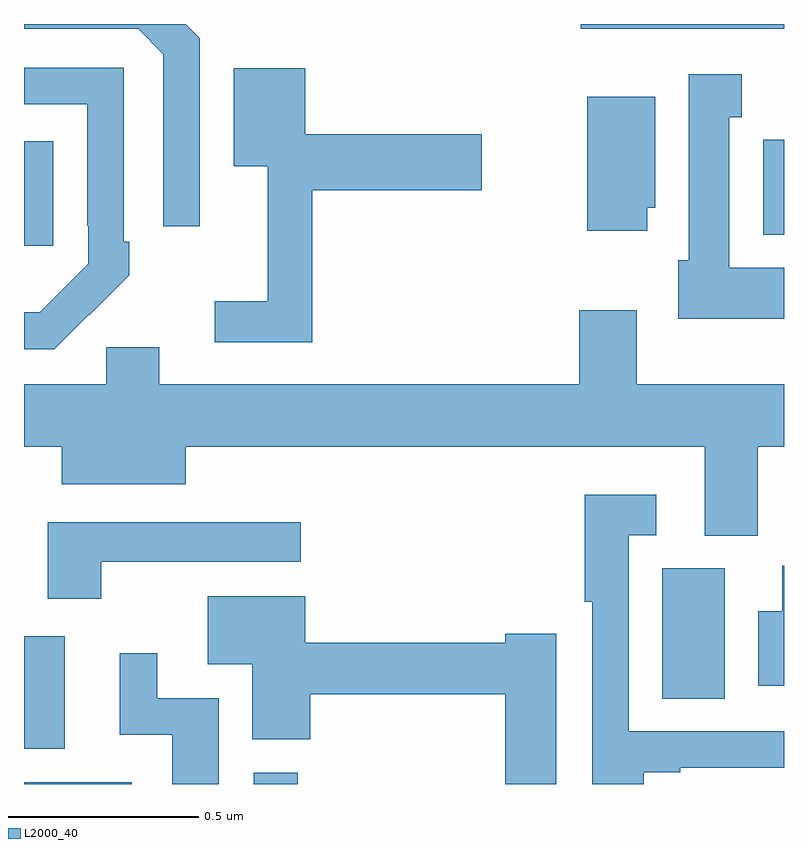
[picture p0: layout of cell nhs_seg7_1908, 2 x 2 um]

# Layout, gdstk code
import gdstk
lib = gdstk.Library(unit=1e-6, precision=1e-09)
def R(c, l, rs):  # rectangles x0, y0, x1, y1
    for r in rs: c.add(gdstk.rectangle(r[:2], r[2:], *l))
def P(c, l, *ps):  # polygons
    for p in ps: c.add(gdstk.Polygon(p, *l))
L2000_40 = (2000, 40)

nhs_seg7_1908 = lib.new_cell('nhs_seg7_1908')
R(nhs_seg7_1908, L2000_40, [(137,1061,137.284,1061.004), (137.604,1061,137.72,1061.029), (137,1061.093,137.107,1061.389), (138.68,1061.224,138.844,1061.568), (137,1062.417,137.077,1062.691), (138.945,1062.446,139,1062.696), (138.465,1062.987,139,1063)])
P(nhs_seg7_1908, L2000_40, [(137.463,1062.963),(137.426,1063),(137,1063),(137,1062.987),(137.301,1062.987),(137.367,1062.921),(137.367,1062.468),(137.463,1062.468)],
  [(137.171,1062.235),(137.172,1062.234),(137.277,1062.339),(137.277,1062.427),(137.262,1062.427),(137.262,1062.885),(137,1062.885),(137,1062.789),(137.166,1062.789),(137.166,1062.469),(137.169,1062.469),(137.169,1062.369),(137.041,1062.241),(137,1062.241),(137,1062.144),(137.08,1062.144)],
  [(137.759,1062.563),(138.205,1062.563),(138.205,1062.71),(137.74,1062.71),(137.74,1062.883),(137.552,1062.883),(137.552,1062.626),(137.642,1062.626),(137.642,1062.271),(137.502,1062.271),(137.502,1062.162),(137.759,1062.162)],
  [(139,1062.358),(138.856,1062.358),(138.856,1062.755),(138.889,1062.755),(138.889,1062.868),(138.749,1062.868),(138.749,1062.378),(138.722,1062.378),(138.722,1062.224),(139,1062.224)],
  [(138.64,1062.516),(138.661,1062.516),(138.661,1062.808),(138.482,1062.808),(138.482,1062.456),(138.64,1062.456)],
  [(138.931,1061.888),(139,1061.888),(139,1062.052),(138.613,1062.052),(138.613,1062.247),(138.461,1062.247),(138.461,1062.052),(137.356,1062.052),(137.356,1062.15),(137.217,1062.15),(137.217,1062.052),(137,1062.052),(137,1061.888),(137.099,1061.888),(137.099,1061.789),(137.425,1061.789),(137.425,1061.888),(138.791,1061.888),(138.791,1061.653),(138.931,1061.653)],
  [(138.631,1061.031),(138.727,1061.031),(138.727,1061.043),(139,1061.043),(139,1061.139),(138.591,1061.139),(138.591,1061.655),(138.664,1061.655),(138.664,1061.761),(138.475,1061.761),(138.475,1061.479),(138.495,1061.479),(138.495,1061),(138.631,1061)],
  [(137.203,1061.585),(137.728,1061.585),(137.728,1061.689),(137.063,1061.689),(137.063,1061.487),(137.203,1061.487)],
  [(139,1061.574),(138.995,1061.574),(138.995,1061.455),(138.932,1061.455),(138.932,1061.259),(139,1061.259)],
  [(138.4,1061.396),(138.266,1061.396),(138.266,1061.372),(137.74,1061.372),(137.74,1061.494),(137.483,1061.494),(137.483,1061.315),(137.6,1061.315),(137.6,1061.118),(137.753,1061.118),(137.753,1061.236),(138.266,1061.236),(138.266,1061),(138.4,1061)],
  [(137.512,1061.226),(137.35,1061.226),(137.35,1061.344),(137.252,1061.344),(137.252,1061.13),(137.39,1061.13),(137.39,1061),(137.512,1061)])

lib.write_gds('nhs_seg7_1908.gds')
